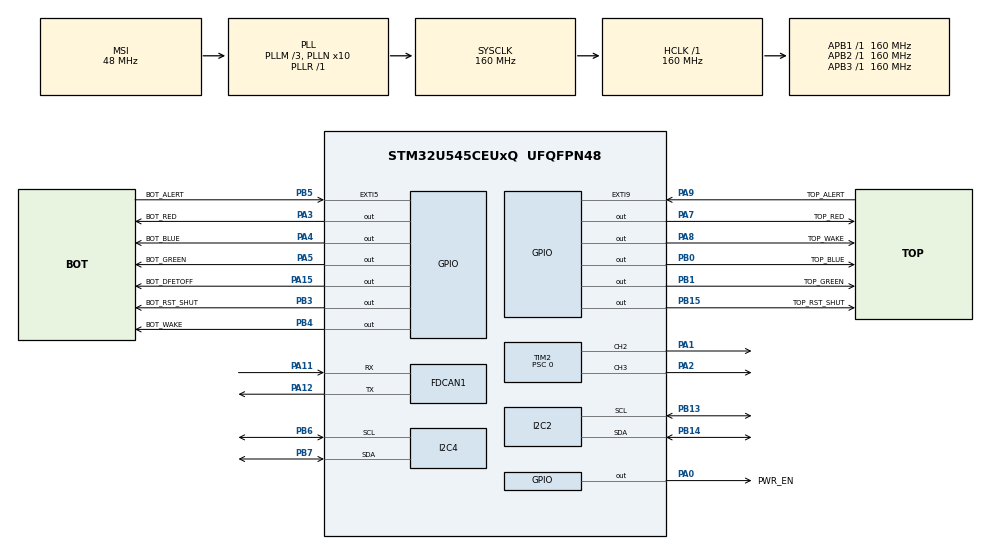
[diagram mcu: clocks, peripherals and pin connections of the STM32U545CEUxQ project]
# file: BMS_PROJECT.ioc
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CORTEX_M33_NS.userName=CORTEX_M33
FDCAN1.CalculateBaudRateNominal=500000
FDCAN1.CalculateTimeBitNominal=2000
FDCAN1.CalculateTimeQuantumNominal=125.0
I2C2.Timing=0x30909DEC
I2C4.Timing=0x30909DEC
Mcu.Family=STM32U5
Mcu.Name=STM32U545CEUxQ
Mcu.Package=UFQFPN48
NVIC.EXTI5_IRQn=true\:0\:0\:false\:false\:true\:true\:true\:true
NVIC.EXTI9_IRQn=true\:0\:0\:false\:false\:true\:true\:true\:true
NVIC.PriorityGroup=NVIC_PRIORITYGROUP_4
PA0.GPIO_Label=PWR_EN
PA0.Signal=GPIO_Output
PA1.Signal=S_TIM2_CH2
PA11.Mode=FDCAN_Activate
PA11.Signal=FDCAN1_RX
PA12.Mode=FDCAN_Activate
PA12.Signal=FDCAN1_TX
PA13\ (JTMS/SWDIO).Mode=Serial_Wire
PA13\ (JTMS/SWDIO).Signal=DEBUG_JTMS-SWDIO
PA14\ (JTCK/SWCLK).Mode=Serial_Wire
PA14\ (JTCK/SWCLK).Signal=DEBUG_JTCK-SWCLK
PA15\ (JTDI).GPIO_Label=BOT_DFETOFF
PA15\ (JTDI).GPIO_ModeDefaultOutputPP=GPIO_MODE_OUTPUT_OD
PA15\ (JTDI).GPIO_PuPd=GPIO_PULLUP
PA15\ (JTDI).Signal=GPIO_Output
PA2.Signal=S_TIM2_CH3
PA3.GPIO_Label=BOT_RED
PA3.Signal=GPIO_Output
PA4.GPIO_Label=BOT_BLUE
PA4.Signal=GPIO_Output
PA5.GPIO_Label=BOT_GREEN
PA5.Signal=GPIO_Output
PA7.GPIO_Label=TOP_RED
PA7.Signal=GPIO_Output
PA8.GPIO_Label=TOP_WAKE
PA8.Signal=GPIO_Output
PA9.GPIO_Label=TOP_ALERT
PA9.Signal=GPXTI9
PB0.GPIO_Label=TOP_BLUE
PB0.Signal=GPIO_Output
PB1.GPIO_Label=TOP_GREEN
PB1.Signal=GPIO_Output
PB13.Mode=I2C
PB13.Signal=I2C2_SCL
PB14.Mode=I2C
PB14.Signal=I2C2_SDA
PB15.GPIO_Label=TOP_RST_SHUT
PB15.Signal=GPIO_Output
PB3\ (JTDO/TRACESWO).GPIO_Label=BOT_RST_SHUT
PB3\ (JTDO/TRACESWO).Signal=GPIO_Output
PB4\ (NJTRST).GPIO_Label=BOT_WAKE
PB4\ (NJTRST).Signal=GPIO_Output
PB5.GPIO_Label=BOT_ALERT
PB5.Signal=GPXTI5
PB6.Mode=I2C
PB6.Signal=I2C4_SCL
PB7.Mode=I2C
PB7.Signal=I2C4_SDA
PC14-OSC32_IN\ (PC14).Mode=LSE-External-Oscillator-for-RTC
PC14-OSC32_IN\ (PC14).Signal=RCC_OSC32_IN
PC15-OSC32_OUT\ (PC15).Mode=LSE-External-Oscillator-for-RTC
PC15-OSC32_OUT\ (PC15).Signal=RCC_OSC32_OUT
PH0-OSC_IN\ (PH0).Mode=HSE-External-Clock-Source
PH0-OSC_IN\ (PH0).Signal=RCC_OSC_IN
PH1-OSC_OUT\ (PH1).Signal=RCC_OSC_OUT
PWR.PowerMode=PWR_SMPS_SUPPLY
ProjectManager.HeapSize=0x200
ProjectManager.StackSize=0x400
ProjectManager.TargetToolchain=STM32CubeIDE
RCC.ADCFreq_Value=16000000
RCC.AHBFreq_Value=160000000
RCC.APB1Freq_Value=160000000
RCC.APB1TimFreq_Value=160000000
RCC.APB2Freq_Value=160000000
RCC.APB2TimFreq_Value=160000000
RCC.APB3Freq_Value=160000000
RCC.CortexFreq_Value=160000000
RCC.DACCLockSelectionVirtual=RCC_DAC1CLKSOURCE_LSI
RCC.DACCLockSelectionVirtualString=RCC_DAC1CLKSOURCE_LSI
RCC.EPOD_VALUE=48000000
RCC.HCLKFreq_Value=160000000
RCC.HSE_VALUE=8000000
RCC.HSI48_VALUE=48000000
RCC.HSI_VALUE=16000000
RCC.LSIDIV_VALUE=32000
RCC.MSIClockRange=RCC_MSIRANGE_0
RCC.MSI_VALUE=48000000
RCC.PLL1R=1
RCC.PLL2FRACN=0
RCC.PLL3FRACN=0
RCC.PLLFRACN=0
RCC.PLLM=3
RCC.PLLN=10
RCC.SYSCLKFreq_VALUE=160000000
RCC.SYSCLKSource=RCC_SYSCLKSOURCE_PLLCLK
RCC.USBFreq_Value=48000000
RCC.VCOOutputFreq_Value=160000000
SH.S_TIM2_CH2.0=TIM2_CH2,PWM Generation2 CH2
SH.S_TIM2_CH3.0=TIM2_CH3,PWM Generation3 CH3
TIM2.Channel-PWM\ Generation2\ CH2=TIM_CHANNEL_2
TIM2.Channel-PWM\ Generation3\ CH3=TIM_CHANNEL_3
TIM2.Period=6399
TIM2.Prescaler=0
VP_ICACHE_VS_ICACHE.Mode=DefaultMode
VP_LPBAMQUEUE_VS_QUEUE.Mode=QUEUEMODE
VP_LPBAM_VS_SIG1.Mode=SmartRun
VP_LPBAM_VS_SIG4.Mode=LPDMA1
VP_MEMORYMAP_VS_MEMORYMAP.Mode=CurAppReg
VP_PWR_VS_LPOM.Mode=PowerOptimisation
VP_PWR_VS_SECSignals.Mode=Security/Privilege
board=custom

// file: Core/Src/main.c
/* USER CODE BEGIN Header */
/**
  ******************************************************************************
  * @file           : main.c
  * @brief          : Main program body
  ******************************************************************************
  * @attention
  *
  * Copyright (c) 2026 STMicroelectronics.
  * All rights reserved.
  *
  * This software is licensed under terms that can be found in the LICENSE file
  * in the root directory of this software component.
  * If no LICENSE file comes with this software, it is provided AS-IS.
  *
  ******************************************************************************
  */
/* USER CODE END Header */
#include "main.h"
#include "fdcan.h"
#include "i2c.h"
#include "icache.h"
#include "tim.h"
#include "gpio.h"

/* USER CODE BEGIN Includes */
#include "B_BMS.h"
#include "B_BMS_fan.h"
#include "B_BMS_init.h"
#include "B_TEST_BMS.h"
#include "B_BMS_power_mode.h"
#include "B_BMS_soc.h"
#include "B_BMS_protect.h"
#include "B_BMS_rtc.h"
/* USER CODE END Includes */

/* USER CODE BEGIN PV */
extern BMS_Unit BMS[STACK];
extern uint8_t LV_BMS_initOK;
extern uint16_t LV_BMS_running;
extern unsigned int RX_CRC_Fail;
extern unsigned int I2C_HAL_Fail;
/* USER CODE END PV */

void SystemClock_Config(void);
static void SystemPower_Config(void);

/* USER CODE BEGIN 0 */
void delayUS(uint32_t us)
{
    // DWT cycle counter based microsecond delay.
    if ((DWT->CTRL & DWT_CTRL_CYCCNTENA_Msk) == 0U)
    {
        CoreDebug->DEMCR |= CoreDebug_DEMCR_TRCENA_Msk;
        DWT->CYCCNT = 0U;
        DWT->CTRL |= DWT_CTRL_CYCCNTENA_Msk;
    }

    uint32_t cycles_per_us = HAL_RCC_GetHCLKFreq() / 1000000U;
    uint32_t start = DWT->CYCCNT;
    uint32_t cycles = us * cycles_per_us;
    // TIM2 is reserved for fan PWM.
    while ((DWT->CYCCNT - start) < cycles)
    {
    }
}

void LV_STAT()
{
    static unsigned int prev_RX_CRC_Fail = 0;
    static unsigned int prev_I2C_HAL_Fail = 0;

    // 이번 주기에 새로 발생한 통신 오류(CRC 불일치 / I2C HAL 오류)가 있는지 확인
    uint8_t comm_error = ((RX_CRC_Fail != prev_RX_CRC_Fail) || (I2C_HAL_Fail != prev_I2C_HAL_Fail)) ? 1U : 0U;
    prev_RX_CRC_Fail = RX_CRC_Fail;
    prev_I2C_HAL_Fail = I2C_HAL_Fail;

    uint8_t bq_fault = 0U;
    for (int i = 0; i < STACK; i++) {
        if (!BMS_UNIT_USED(i)) { continue; }
        if (BMS[i].ProtectionsTriggered || BMS[i].PF_ProtectionsTriggered) { bq_fault = 1U; }
    }

    uint8_t fault = (bq_fault || comm_error) ? 1U : 0U;

    // 1. BMS 보호 로직(일반/영구 고장) 또는 통신 오류 발생 시
    if (fault)
    {
        // 에러 상태: RED LED 점등, GREEN LED 소등
        HAL_GPIO_WritePin(BOT_RED_GPIO_Port, BOT_RED_Pin, GPIO_PIN_SET);
        HAL_GPIO_WritePin(BOT_GREEN_GPIO_Port, BOT_GREEN_Pin, GPIO_PIN_RESET);
    }
    // 2. 정상 동작 시
    else
    {
        // 정상 상태: GREEN LED 점등, RED LED 소등
        HAL_GPIO_WritePin(BOT_GREEN_GPIO_Port, BOT_GREEN_Pin, GPIO_PIN_SET);
        HAL_GPIO_WritePin(BOT_RED_GPIO_Port, BOT_RED_Pin, GPIO_PIN_RESET);
    }

    // 3. MCU 보호 감시자 상태를 별도 LED로 구분한다.
    //    위의 RED/GREEN은 "BQ가 보호를 걸었다"를 나타내고, 아래는 "MCU가 개입했다"를 나타낸다.
    //    둘은 원인이 완전히 다르므로 현장에서 구분되어야 한다.
    //    BLUE  = MCU가 BOTHOFF를 걸고 있음
    //    TOP_RED = latch 상태(자동 복구 안 됨 — 사람이 확인해야 함)
    HAL_GPIO_WritePin(BOT_BLUE_GPIO_Port, BOT_BLUE_Pin,
                      BMS_Protect.bothoff_asserted ? GPIO_PIN_SET : GPIO_PIN_RESET);
    HAL_GPIO_WritePin(TOP_RED_GPIO_Port, TOP_RED_Pin,
                      BMS_Protect.latched ? GPIO_PIN_SET : GPIO_PIN_RESET);
}
/* USER CODE END 0 */

int main(void)
{

  /* MCU Configuration--------------------------------------------------------*/

  /* Reset of all peripherals, Initializes the Flash interface and the Systick. */
  HAL_Init();

  /* Configure the System Power */
  SystemPower_Config();

  /* Configure the system clock */
  SystemClock_Config();

  /* Initialize all configured peripherals */
  MX_GPIO_Init();
  MX_FDCAN1_Init();
  MX_I2C2_Init();
  MX_I2C4_Init();
  MX_TIM2_Init();
  MX_ICACHE_Init();
  /* USER CODE BEGIN 2 */
  // 저전력 구간의 경과 시간 측정과 주기적 웨이크업에 쓴다. BQ 초기화보다 먼저 세워야
  // 첫 슬립부터 실측 시간이 적용된다. LSE/LSI 둘 다 실패하면 조용히 폴백 동작한다.
  BMS_RTC_Init();
  BMS_FanControl_Init();
  LV_BMS_MAIN_RUN();
  BMS_SOC_Init();
  BMS_Protect_Init();
  /* USER CODE END 2 */

  /* Infinite loop */
  while (1)
  {

    /* USER CODE BEGIN 3 */
    bool already_ran_while_run = Handle_Wakeup_Event();
    if (!already_ran_while_run) {
      LV_BMS_WHILE_RUN();
    }
    // 데이터를 읽은 직후, 팬/CAN/LED보다 먼저 판정한다 (차단 결정이 가장 급하므로).
    BMS_Protect_Update();
    BMS_FanControl_Update();
    BMS_CAN_SendRunData(TOP);
    BMS_CAN_SendRunData(BOT);
    BMS_CAN_SendProtectDiag();
    LV_STAT();
    Enter_Sleep_Sequence();
  }
  /* USER CODE END 3 */
}

void SystemClock_Config(void)
{
  RCC_OscInitTypeDef RCC_OscInitStruct = {0};
  RCC_ClkInitTypeDef RCC_ClkInitStruct = {0};

  /** Configure the main internal regulator output voltage
  */
  if (HAL_PWREx_ControlVoltageScaling(PWR_REGULATOR_VOLTAGE_SCALE1) != HAL_OK)
  {
    Error_Handler();
  }

  /** Initializes the CPU, AHB and APB buses clocks
  */
  RCC_OscInitStruct.OscillatorType = RCC_OSCILLATORTYPE_MSI;
  RCC_OscInitStruct.MSIState = RCC_MSI_ON;
  RCC_OscInitStruct.MSICalibrationValue = RCC_MSICALIBRATION_DEFAULT;
  RCC_OscInitStruct.MSIClockRange = RCC_MSIRANGE_0;
  RCC_OscInitStruct.PLL.PLLState = RCC_PLL_ON;
  RCC_OscInitStruct.PLL.PLLSource = RCC_PLLSOURCE_MSI;
  RCC_OscInitStruct.PLL.PLLMBOOST = RCC_PLLMBOOST_DIV4;
  RCC_OscInitStruct.PLL.PLLM = 3;
  RCC_OscInitStruct.PLL.PLLN = 10;
  RCC_OscInitStruct.PLL.PLLP = 2;
  RCC_OscInitStruct.PLL.PLLQ = 2;
  RCC_OscInitStruct.PLL.PLLR = 1;
  RCC_OscInitStruct.PLL.PLLRGE = RCC_PLLVCIRANGE_1;
  RCC_OscInitStruct.PLL.PLLFRACN = 0;
  if (HAL_RCC_OscConfig(&RCC_OscInitStruct) != HAL_OK)
  {
    Error_Handler();
  }

  /** Initializes the CPU, AHB and APB buses clocks
  */
  RCC_ClkInitStruct.ClockType = RCC_CLOCKTYPE_HCLK|RCC_CLOCKTYPE_SYSCLK
                              |RCC_CLOCKTYPE_PCLK1|RCC_CLOCKTYPE_PCLK2
                              |RCC_CLOCKTYPE_PCLK3;
  RCC_ClkInitStruct.SYSCLKSource = RCC_SYSCLKSOURCE_PLLCLK;
  RCC_ClkInitStruct.AHBCLKDivider = RCC_SYSCLK_DIV1;
  RCC_ClkInitStruct.APB1CLKDivider = RCC_HCLK_DIV1;
  RCC_ClkInitStruct.APB2CLKDivider = RCC_HCLK_DIV1;
  RCC_ClkInitStruct.APB3CLKDivider = RCC_HCLK_DIV1;

  if (HAL_RCC_ClockConfig(&RCC_ClkInitStruct, FLASH_LATENCY_4) != HAL_OK)
  {
    Error_Handler();
  }
}

/**
  * @brief Power Configuration
  * @retval None
  */
static void SystemPower_Config(void)
{

  /*
   * Switch to SMPS regulator instead of LDO
   */
  if (HAL_PWREx_ConfigSupply(PWR_SMPS_SUPPLY) != HAL_OK)
  {
    Error_Handler();
  }
}

void Error_Handler(void)
{
  __disable_irq();
  while (1)
  {
  }
}
